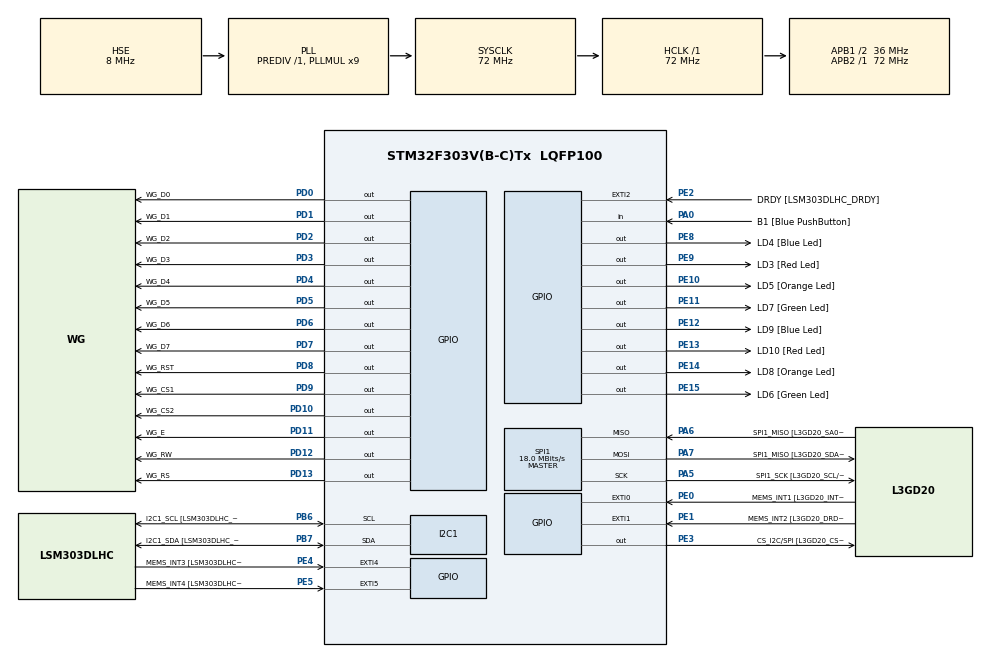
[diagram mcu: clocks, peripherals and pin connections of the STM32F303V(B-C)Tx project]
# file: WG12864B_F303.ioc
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PD12.GPIO_Label=WG_RW
SPI1.VirtualType=VM_MASTER
PA14.GPIO_Label=SWCLK
PA6.GPIO_Label=SPI1_MISO [L3GD20_SA0/SDO]
PB6.GPIO_Label=I2C1_SCL [LSM303DLHC_SCL]
PD10.GPIO_PuPd=GPIO_PULLUP
PD3.GPIO_Speed=GPIO_SPEED_FREQ_HIGH
PD6.GPIO_Label=WG_D6
PC15-OSC32_OUT.GPIO_Label=OSC32_OUT
PD7.GPIO_PuPd=GPIO_PULLUP
SPI1.Direction=SPI_DIRECTION_2LINES
PD4.Signal=GPIO_Output
RCC.APB2TimFreq_Value=72000000
PB6.Signal=I2C1_SCL
PB6.Mode=I2C
SPI1.CalculateBaudRate=18.0 MBits/s
PD0.Signal=GPIO_Output
PD8.Signal=GPIO_Output
PE5.Signal=GPXTI5
PE1.Signal=GPXTI1
PF0-OSC_IN.GPIO_Label=OSC_IN
PD1.GPIO_Label=WG_D1
PE9.Signal=GPIO_Output
PD1.GPIO_Speed=GPIO_SPEED_FREQ_HIGH
PE4.GPIO_Label=MEMS_INT3 [LSM303DLHC_INT1]
PE2.Signal=GPXTI2
PE10.Signal=GPIO_Output
SPI1.CalculateBaudRate-Full_Duplex_Master=24.0 MBits/s
PA0.Signal=GPIO_Input
Mcu.Package=LQFP100
PD0.GPIO_ModeDefaultOutputPP=GPIO_MODE_OUTPUT_PP
NVIC.TimeBase=TIM1_TRG_COM_TIM17_IRQn
PD12.Signal=GPIO_Output
NVIC.TimeBaseIP=TIM17
PE12.GPIO_Label=LD9 [Blue Led]
RCC.APB1TimFreq_Value=72000000
PD5.GPIO_Speed=GPIO_SPEED_FREQ_HIGH
PD3.GPIO_PuPd=GPIO_PULLUP
TIM16.Prescaler=71
PE10.GPIO_Label=LD5 [Orange Led]
PD9.GPIO_PuPd=GPIO_PULLUP
PF1-OSC_OUT.Signal=RCC_OSC_OUT
PA5.Mode=Full_Duplex_Master
FREERTOS.Tasks01=defaultTask,24,128,StartDefaultTask,Default,NULL,Dynamic,NULL,NULL
PD9.GPIO_Label=WG_CS1
PD2.GPIO_PuPd=GPIO_PULLUP
VP_SYS_VS_tim17.Mode=TIM17
PD3.Signal=GPIO_Output
PD7.Signal=GPIO_Output
PD1.Signal=GPIO_Output
PA11.GPIO_Label=DM
VP_TIM16_VS_ClockSourceINT.Mode=Enable_Timer
PD1.GPIO_PuPd=GPIO_PULLUP
RCC.APB1CLKDivider=RCC_HCLK_DIV2
PC14-OSC32_IN.Signal=RCC_OSC32_IN
PD0.GPIO_Speed=GPIO_SPEED_FREQ_HIGH
PD10.Signal=GPIO_Output
PE5.GPIO_ModeDefaultEXTI=GPIO_MODE_EVT_RISING
PD11.GPIO_Speed=GPIO_SPEED_FREQ_HIGH
PE8.GPIO_Label=LD4 [Blue Led]
PE9.GPIO_Label=LD3 [Red Led]
PA5.Signal=SPI1_SCK
PE1.GPIO_Label=MEMS_INT2 [L3GD20_DRDY/INT2]
PE14.Signal=GPIO_Output
PE15.Signal=GPIO_Output
PE8.Signal=GPIO_Output
SPI1.Mode=SPI_MODE_MASTER
PD4.GPIO_Speed=GPIO_SPEED_FREQ_HIGH
PF1-OSC_OUT.GPIO_Label=OSC_OUT
I2C1.Timing-I2C=0x2000090E
PA13.Mode=Serial_Wire
PE13.GPIO_Label=LD10 [Red Led]
PA5.GPIO_Label=SPI1_SCK [L3GD20_SCL/SPC]
PD11.Signal=GPIO_Output
PE5.GPIO_Label=MEMS_INT4 [LSM303DLHC_INT2]
PA11.Signal=USB_DM
ProjectManager.HeapSize=0x200
PD0.GPIO_PuPd=GPIO_PULLUP
FREERTOS.Timers01=WG12864,Callback01,osTimerOnce,Default,NULL,Dynamic,NULL
PD8.GPIO_Speed=GPIO_SPEED_FREQ_HIGH
NVIC.PriorityGroup=NVIC_PRIORITYGROUP_4
PE3.Signal=GPIO_Output
PE2.GPIO_ModeDefaultEXTI=GPIO_MODE_EVT_RISING
PF0-OSC_IN.Signal=RCC_OSC_IN
PD2.Signal=GPIO_Output
SPI1.BaudRatePrescaler-Full_Duplex_Master=SPI_BAUDRATEPRESCALER_2
PD2.GPIO_Label=WG_D2
Mcu.Family=STM32F3
PA6.Mode=Full_Duplex_Master
RCC.CortexFreq_Value=72000000
PE11.GPIO_Label=LD7 [Green Led]
RCC.SYSCLKSourceVirtual=RCC_SYSCLKSOURCE_PLLCLK
PA0.GPIO_Label=B1 [Blue PushButton]
PD9.GPIO_Speed=GPIO_SPEED_FREQ_HIGH
PD0.GPIO_Label=WG_D0
PD2.GPIO_Speed=GPIO_SPEED_FREQ_HIGH
PD8.GPIO_PuPd=GPIO_PULLUP
ProjectManager.StackSize=0x400
VP_FREERTOS_VS_CMSIS_V2.Mode=CMSIS_V2
SPI1.Mode-Full_Duplex_Master=SPI_MODE_MASTER
PD13.Signal=GPIO_Output
PD11.GPIO_PuPd=GPIO_PULLUP
PA12.Signal=USB_DP
PD11.GPIO_Label=WG_E
RCC.HCLKFreq_Value=72000000
RCC.AHBFreq_Value=72000000
RCC.HSE_VALUE=8000000
RCC.PLLMUL=RCC_PLL_MUL9
PD7.GPIO_Speed=GPIO_SPEED_FREQ_HIGH
NVIC.TIM1_TRG_COM_TIM17_IRQn=true\:0\:0\:false\:false\:true\:false\:false\:true
PE13.Signal=GPIO_Output
PA14.Mode=Serial_Wire
PB7.Signal=I2C1_SDA
PD10.GPIO_Speed=GPIO_SPEED_FREQ_HIGH
PE4.Signal=GPXTI4
PD7.GPIO_Label=WG_D7
PB7.GPIO_Label=I2C1_SDA [LSM303DLHC_SDA]
PD13.GPIO_Label=WG_RS
PA6.Signal=SPI1_MISO
PD5.GPIO_Label=WG_D5
PE0.GPIO_Label=MEMS_INT1 [L3GD20_INT1]
TIM16.AutoReloadPreload=TIM_AUTORELOAD_PRELOAD_ENABLE
PC14-OSC32_IN.GPIO_Label=OSC32_IN
PD3.GPIO_Label=WG_D3
PD6.Signal=GPIO_Output
SPI1.BaudRatePrescaler=SPI_BAUDRATEPRESCALER_4
PE2.GPIO_Label=DRDY [LSM303DLHC_DRDY]
PB3.GPIO_Label=SWO
RCC.PLLSourceVirtual=RCC_PLLSOURCE_HSE
PD12.GPIO_Speed=GPIO_SPEED_FREQ_HIGH
PA7.Mode=Full_Duplex_Master
PE4.GPIO_ModeDefaultEXTI=GPIO_MODE_EVT_RISING
PE14.GPIO_Label=LD8 [Orange Led]
PD5.Signal=GPIO_Output
PD9.Signal=GPIO_Output
PE1.GPIO_ModeDefaultEXTI=GPIO_MODE_EVT_RISING
PA12.GPIO_Label=DP
PD8.GPIO_Label=WG_RST
PA13.Signal=SYS_JTMS-SWDIO
PD4.GPIO_PuPd=GPIO_PULLUP
PE15.GPIO_Label=LD6 [Green Led]
ProjectManager.TargetToolchain=EWARM V8
PE0.GPIO_ModeDefaultEXTI=GPIO_MODE_EVT_RISING
RCC.USBFreq_Value=72000000
PD10.GPIO_Label=WG_CS2
PE11.Signal=GPIO_Output
RCC.LSE_VALUE=32768
PC15-OSC32_OUT.Signal=RCC_OSC32_OUT
PF0-OSC_IN.Mode=HSE-External-Clock-Source
board=STM32F3DISCOVERY
PD13.GPIO_Speed=GPIO_SPEED_FREQ_HIGH
TIM16.Period=65535
RCC.APB2Freq_Value=72000000
PD4.GPIO_Label=WG_D4
PD13.GPIO_PuPd=GPIO_PULLUP
PD5.GPIO_PuPd=GPIO_PULLUP
Mcu.Name=STM32F303V(B-C)Tx
PE0.Signal=GPXTI0
PE12.Signal=GPIO_Output
PA13.GPIO_Label=SWDIO
PB3.Signal=SYS_JTDO-TRACESWO
RCC.SYSCLKFreq_VALUE=72000000
PA7.GPIO_Label=SPI1_MISO [L3GD20_SDA/SDI/SDO]
PB7.Mode=I2C
PA14.Signal=SYS_JTCK-SWCLK
RCC.HSI_VALUE=8000000
PE3.GPIO_Label=CS_I2C/SPI [L3GD20_CS_I2C/SPI]
RCC.APB1Freq_Value=36000000
PD6.GPIO_Speed=GPIO_SPEED_FREQ_HIGH
PD12.GPIO_PuPd=GPIO_PULLUP
PD6.GPIO_PuPd=GPIO_PULLUP
PA7.Signal=SPI1_MOSI

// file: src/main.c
/* USER CODE BEGIN Header */
/**
  ******************************************************************************
  * @file           : main.c
  * @brief          : Main program body
  ******************************************************************************
  * @attention
  *
  * <h2><center>&copy; Copyright (c) 2020 STMicroelectronics.
  * All rights reserved.</center></h2>
  *
  * This software component is licensed by ST under Ultimate Liberty license
  * SLA0044, the "License"; You may not use this file except in compliance with
  * the License. You may obtain a copy of the License at:
  *                             www.st.com/SLA0044
  *
  ******************************************************************************
  */
/* USER CODE END Header */

#include "main.h"
#include "cmsis_os.h"

/* USER CODE BEGIN Includes */
#include "WG12864B.h"
/* USER CODE END Includes */

I2C_HandleTypeDef hi2c1;

SPI_HandleTypeDef hspi1;

TIM_HandleTypeDef htim16;

/* Definitions for defaultTask */
osThreadId_t defaultTaskHandle;
const osThreadAttr_t defaultTask_attributes = {
  .name = "defaultTask",
  .priority = (osPriority_t) osPriorityNormal,
  .stack_size = 128 * 4
};
/* Definitions for WG12864 */
osTimerId_t WG12864Handle;
const osTimerAttr_t WG12864_attributes = {
  .name = "WG12864"
};

void SystemClock_Config(void);
static void MX_GPIO_Init(void);
static void MX_I2C1_Init(void);
static void MX_SPI1_Init(void);
static void MX_TIM16_Init(void);
void StartDefaultTask(void *argument);
void Callback01(void *argument);

int main(void)
{

  /* MCU Configuration--------------------------------------------------------*/

  /* Reset of all peripherals, Initializes the Flash interface and the Systick. */
  HAL_Init();

  /* Configure the system clock */
  SystemClock_Config();

  /* Initialize all configured peripherals */
  MX_GPIO_Init();
  MX_I2C1_Init();
  MX_SPI1_Init();
  MX_TIM16_Init();

  /* Init scheduler */
  osKernelInitialize();

  /* Create the timer(s) */
  /* creation of WG12864 */
  WG12864Handle = osTimerNew(Callback01, osTimerOnce, NULL, &WG12864_attributes);

  /* Create the thread(s) */
  /* creation of defaultTask */
  defaultTaskHandle = osThreadNew(StartDefaultTask, NULL, &defaultTask_attributes);

  /* Start scheduler */
  osKernelStart();

  /* We should never get here as control is now taken by the scheduler */
  /* Infinite loop */
  while (1)
  {

  }
}

void SystemClock_Config(void)
{
  RCC_OscInitTypeDef RCC_OscInitStruct = {0};
  RCC_ClkInitTypeDef RCC_ClkInitStruct = {0};
  RCC_PeriphCLKInitTypeDef PeriphClkInit = {0};

  /** Initializes the CPU, AHB and APB busses clocks
  */
  RCC_OscInitStruct.OscillatorType = RCC_OSCILLATORTYPE_HSI|RCC_OSCILLATORTYPE_HSE;
  RCC_OscInitStruct.HSEState = RCC_HSE_BYPASS;
  RCC_OscInitStruct.HSEPredivValue = RCC_HSE_PREDIV_DIV1;
  RCC_OscInitStruct.HSIState = RCC_HSI_ON;
  RCC_OscInitStruct.HSICalibrationValue = RCC_HSICALIBRATION_DEFAULT;
  RCC_OscInitStruct.PLL.PLLState = RCC_PLL_ON;
  RCC_OscInitStruct.PLL.PLLSource = RCC_PLLSOURCE_HSE;
  RCC_OscInitStruct.PLL.PLLMUL = RCC_PLL_MUL9;
  if (HAL_RCC_OscConfig(&RCC_OscInitStruct) != HAL_OK)
  {
    Error_Handler();
  }
  /** Initializes the CPU, AHB and APB busses clocks
  */
  RCC_ClkInitStruct.ClockType = RCC_CLOCKTYPE_HCLK|RCC_CLOCKTYPE_SYSCLK
                              |RCC_CLOCKTYPE_PCLK1|RCC_CLOCKTYPE_PCLK2;
  RCC_ClkInitStruct.SYSCLKSource = RCC_SYSCLKSOURCE_PLLCLK;
  RCC_ClkInitStruct.AHBCLKDivider = RCC_SYSCLK_DIV1;
  RCC_ClkInitStruct.APB1CLKDivider = RCC_HCLK_DIV2;
  RCC_ClkInitStruct.APB2CLKDivider = RCC_HCLK_DIV1;

  if (HAL_RCC_ClockConfig(&RCC_ClkInitStruct, FLASH_LATENCY_2) != HAL_OK)
  {
    Error_Handler();
  }
  PeriphClkInit.PeriphClockSelection = RCC_PERIPHCLK_I2C1;
  PeriphClkInit.I2c1ClockSelection = RCC_I2C1CLKSOURCE_HSI;
  if (HAL_RCCEx_PeriphCLKConfig(&PeriphClkInit) != HAL_OK)
  {
    Error_Handler();
  }
}

static void MX_I2C1_Init(void)
{

  hi2c1.Instance = I2C1;
  hi2c1.Init.Timing = 0x2000090E;
  hi2c1.Init.OwnAddress1 = 0;
  hi2c1.Init.AddressingMode = I2C_ADDRESSINGMODE_7BIT;
  hi2c1.Init.DualAddressMode = I2C_DUALADDRESS_DISABLE;
  hi2c1.Init.OwnAddress2 = 0;
  hi2c1.Init.OwnAddress2Masks = I2C_OA2_NOMASK;
  hi2c1.Init.GeneralCallMode = I2C_GENERALCALL_DISABLE;
  hi2c1.Init.NoStretchMode = I2C_NOSTRETCH_DISABLE;
  if (HAL_I2C_Init(&hi2c1) != HAL_OK)
  {
    Error_Handler();
  }
  /** Configure Analogue filter
  */
  if (HAL_I2CEx_ConfigAnalogFilter(&hi2c1, I2C_ANALOGFILTER_ENABLE) != HAL_OK)
  {
    Error_Handler();
  }
  /** Configure Digital filter
  */
  if (HAL_I2CEx_ConfigDigitalFilter(&hi2c1, 0) != HAL_OK)
  {
    Error_Handler();
  }

}

static void MX_SPI1_Init(void)
{

  /* SPI1 parameter configuration*/
  hspi1.Instance = SPI1;
  hspi1.Init.Mode = SPI_MODE_MASTER;
  hspi1.Init.Direction = SPI_DIRECTION_2LINES;
  hspi1.Init.DataSize = SPI_DATASIZE_4BIT;
  hspi1.Init.CLKPolarity = SPI_POLARITY_LOW;
  hspi1.Init.CLKPhase = SPI_PHASE_1EDGE;
  hspi1.Init.NSS = SPI_NSS_SOFT;
  hspi1.Init.BaudRatePrescaler = SPI_BAUDRATEPRESCALER_4;
  hspi1.Init.FirstBit = SPI_FIRSTBIT_MSB;
  hspi1.Init.TIMode = SPI_TIMODE_DISABLE;
  hspi1.Init.CRCCalculation = SPI_CRCCALCULATION_DISABLE;
  hspi1.Init.CRCPolynomial = 7;
  hspi1.Init.CRCLength = SPI_CRC_LENGTH_DATASIZE;
  hspi1.Init.NSSPMode = SPI_NSS_PULSE_ENABLE;
  if (HAL_SPI_Init(&hspi1) != HAL_OK)
  {
    Error_Handler();
  }

}

static void MX_TIM16_Init(void)
{

  htim16.Instance = TIM16;
  htim16.Init.Prescaler = 71;
  htim16.Init.CounterMode = TIM_COUNTERMODE_UP;
  htim16.Init.Period = 65535;
  htim16.Init.ClockDivision = TIM_CLOCKDIVISION_DIV1;
  htim16.Init.RepetitionCounter = 0;
  htim16.Init.AutoReloadPreload = TIM_AUTORELOAD_PRELOAD_ENABLE;
  if (HAL_TIM_Base_Init(&htim16) != HAL_OK)
  {
    Error_Handler();
  }

}

static void MX_GPIO_Init(void)
{
  GPIO_InitTypeDef GPIO_InitStruct = {0};

  /* GPIO Ports Clock Enable */
  __HAL_RCC_GPIOE_CLK_ENABLE();
  __HAL_RCC_GPIOC_CLK_ENABLE();
  __HAL_RCC_GPIOF_CLK_ENABLE();
  __HAL_RCC_GPIOA_CLK_ENABLE();
  __HAL_RCC_GPIOD_CLK_ENABLE();
  __HAL_RCC_GPIOB_CLK_ENABLE();

  /*Configure GPIO pin Output Level */
  HAL_GPIO_WritePin(GPIOE, CS_I2C_SPI_Pin|LD4_Pin|LD3_Pin|LD5_Pin
                          |LD7_Pin|LD9_Pin|LD10_Pin|LD8_Pin
                          |LD6_Pin, GPIO_PIN_RESET);

  /*Configure GPIO pin Output Level */
  HAL_GPIO_WritePin(GPIOD, WG_RST_Pin|WG_CS1_Pin|WG_CS2_Pin|WG_E_Pin
                          |WG_RW_Pin|WG_RS_Pin|WG_D0_Pin|WG_D1_Pin
                          |WG_D2_Pin|WG_D3_Pin|WG_D4_Pin|WG_D5_Pin
                          |WG_D6_Pin|WG_D7_Pin, GPIO_PIN_RESET);

  /*Configure GPIO pins : DRDY_Pin MEMS_INT3_Pin MEMS_INT4_Pin MEMS_INT1_Pin
                           MEMS_INT2_Pin */
  GPIO_InitStruct.Pin = DRDY_Pin|MEMS_INT3_Pin|MEMS_INT4_Pin|MEMS_INT1_Pin
                          |MEMS_INT2_Pin;
  GPIO_InitStruct.Mode = GPIO_MODE_EVT_RISING;
  GPIO_InitStruct.Pull = GPIO_NOPULL;
  HAL_GPIO_Init(GPIOE, &GPIO_InitStruct);

  /*Configure GPIO pins : CS_I2C_SPI_Pin LD4_Pin LD3_Pin LD5_Pin
                           LD7_Pin LD9_Pin LD10_Pin LD8_Pin
                           LD6_Pin */
  GPIO_InitStruct.Pin = CS_I2C_SPI_Pin|LD4_Pin|LD3_Pin|LD5_Pin
                          |LD7_Pin|LD9_Pin|LD10_Pin|LD8_Pin
                          |LD6_Pin;
  GPIO_InitStruct.Mode = GPIO_MODE_OUTPUT_PP;
  GPIO_InitStruct.Pull = GPIO_NOPULL;
  GPIO_InitStruct.Speed = GPIO_SPEED_FREQ_LOW;
  HAL_GPIO_Init(GPIOE, &GPIO_InitStruct);

  /*Configure GPIO pin : B1_Pin */
  GPIO_InitStruct.Pin = B1_Pin;
  GPIO_InitStruct.Mode = GPIO_MODE_INPUT;
  GPIO_InitStruct.Pull = GPIO_NOPULL;
  HAL_GPIO_Init(B1_GPIO_Port, &GPIO_InitStruct);

  /*Configure GPIO pins : WG_RST_Pin WG_CS1_Pin WG_CS2_Pin WG_E_Pin
                           WG_RW_Pin WG_RS_Pin WG_D0_Pin WG_D1_Pin
                           WG_D2_Pin WG_D3_Pin WG_D4_Pin WG_D5_Pin
                           WG_D6_Pin WG_D7_Pin */
  GPIO_InitStruct.Pin = WG_RST_Pin|WG_CS1_Pin|WG_CS2_Pin|WG_E_Pin
                          |WG_RW_Pin|WG_RS_Pin|WG_D0_Pin|WG_D1_Pin
                          |WG_D2_Pin|WG_D3_Pin|WG_D4_Pin|WG_D5_Pin
                          |WG_D6_Pin|WG_D7_Pin;
  GPIO_InitStruct.Mode = GPIO_MODE_OUTPUT_PP;
  GPIO_InitStruct.Pull = GPIO_PULLUP;
  GPIO_InitStruct.Speed = GPIO_SPEED_FREQ_HIGH;
  HAL_GPIO_Init(GPIOD, &GPIO_InitStruct);

  /*Configure GPIO pins : DM_Pin DP_Pin */
  GPIO_InitStruct.Pin = DM_Pin|DP_Pin;
  GPIO_InitStruct.Mode = GPIO_MODE_AF_PP;
  GPIO_InitStruct.Pull = GPIO_NOPULL;
  GPIO_InitStruct.Speed = GPIO_SPEED_FREQ_HIGH;
  GPIO_InitStruct.Alternate = GPIO_AF14_USB;
  HAL_GPIO_Init(GPIOA, &GPIO_InitStruct);

}

void StartDefaultTask(void *argument)
{
  /* USER CODE BEGIN 5 */
  /* Infinite loop */
  HAL_TIM_Base_Start(&htim16);
  WG12864_init();
  uint16_t i=0;
  char R[10];
  for(;;)
  {
    i++;
    sprintf(R,"%d",i);
    WG12864_CreateZB();
    osDelay(500);
    WG12864_Fill(Black,0x03);
    WG12864_PrintStr("Ch232543",Black,2,3,SysRus5x7);
    WG12864_PrintStr("Ch232543",White,55,3,SysRus5x7);
    osDelay(500);
    WG12864_Fill(White,0x03);
    WG12864_PrintStr("Ch232543",Black,2,3,SysRus5x7);
    WG12864_PrintStr("Ch232543",White,55,3,SysRus5x7);
    WG12864_PrintStr(R,((i%2)==0)?White:Black,55,7,SysRus5x7);
    osDelay(500);
    WG12864_CreateMountins();
    osDelay(500);

  }
  /* USER CODE END 5 */
}

/* Callback01 function */
void Callback01(void *argument)
{
}

 /**
  * @brief  Period elapsed callback in non blocking mode
  * @note   This function is called  when TIM17 interrupt took place, inside
  * HAL_TIM_IRQHandler(). It makes a direct call to HAL_IncTick() to increment
  * a global variable "uwTick" used as application time base.
  * @param  htim : TIM handle
  * @retval None
  */
void HAL_TIM_PeriodElapsedCallback(TIM_HandleTypeDef *htim)
{
  if (htim->Instance == TIM17) {
    HAL_IncTick();
  }
}

void Error_Handler(void)
{
}

/************************ (C) COPYRIGHT STMicroelectronics *****END OF FILE****/
